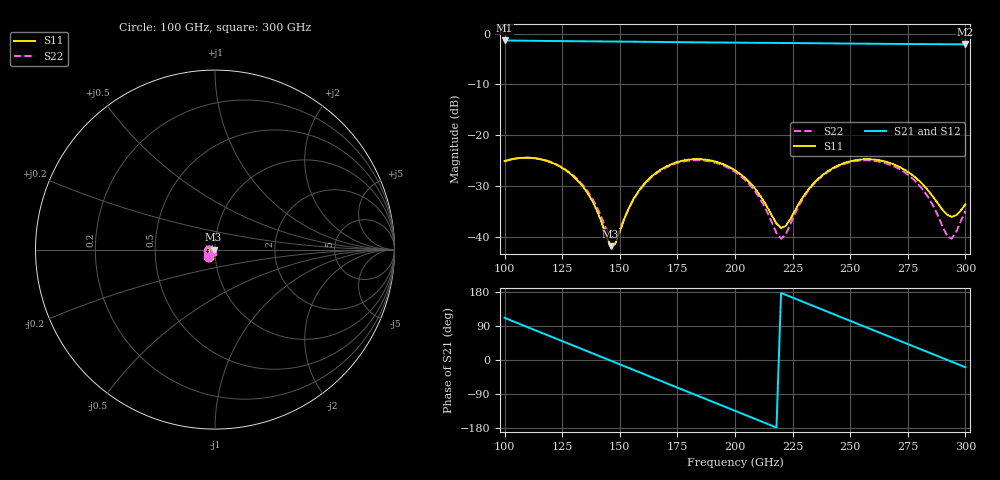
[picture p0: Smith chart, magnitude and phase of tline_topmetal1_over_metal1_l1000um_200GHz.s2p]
#  GHZ S DB R 50
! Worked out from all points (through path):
!   101 points, 100 GHz to 300 GHz, reference 50 ohm
!   highest |S21| = -1.36 dB at 100 GHz (marker M1); lowest = -2.1 dB at 300 GHz (marker M2)
!   group delay of S21, straight-line fit = 6.81 ps
!   lowest |S11| = -41.9 dB at 146 GHz (marker M3), VSWR 1.02, Z = 49.2 - j0.127 ohm
!   |S11| at or under -10 dB: start of sweep to end of sweep
!   |S22| runs from -40.4 to -24.4 dB; largest |S21 - S12| = 1.5e-13
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100  -25.14 -130.7  -1.36 111.2  -1.36 111.2  -25.15 -131.3
108  -24.47 -149.5  -1.40 91.6  -1.40 91.6  -24.46 -149.8
116  -24.80 -168.0  -1.45 71.9  -1.45 71.9  -24.76 -168.1
126  -26.76 170.1  -1.49 47.4  -1.49 47.4  -26.63 170.5
134  -30.14 155.7  -1.52 27.8  -1.52 27.8  -29.86 156.8
140  -34.77 152.2  -1.54 13.1  -1.54 13.1  -34.14 154.2
146  -41.88 -170.8  -1.57 -1.6  -1.57 -1.6  -40.13 -174.7
148  -41.48 -140.8  -1.57 -6.5  -1.57 -6.5  -40.23 -150.5
154  -34.30 -110.6  -1.60 -21.3  -1.60 -21.3  -34.37 -117.7
158  -31.12 -112.3  -1.61 -31.1  -1.61 -31.1  -31.28 -117.7
168  -26.74 -128.9  -1.66 -55.7  -1.66 -55.7  -26.92 -132.7
184  -24.74 -162.1  -1.73 -94.9  -1.73 -94.9  -24.93 -165.6
200  -26.94 166.5  -1.79 -134.1  -1.79 -134.1  -27.24 162.0
210  -31.31 154.8  -1.82 -158.6  -1.82 -158.6  -31.91 148.7
220  -38.29 -169.0  -1.85 176.9  -1.85 176.9  -40.41 -168.7
234  -29.57 -127.0  -1.90 142.6  -1.90 142.6  -29.76 -125.4
244  -26.16 -141.6  -1.94 118.0  -1.94 118.0  -26.31 -142.1
252  -24.97 -156.5  -1.98 98.4  -1.98 98.4  -25.16 -158.1
268  -25.61 173.5  -2.03 59.3  -2.03 59.3  -25.97 169.3
280  -29.04 157.0  -2.07 29.9  -2.07 29.9  -29.90 149.1
294  -36.12 -171.2  -2.11 -4.4  -2.11 -4.4  -40.40 -163.7
300  -33.64 -141.4  -2.13 -19.1  -2.13 -19.1  -34.96 -125.3
